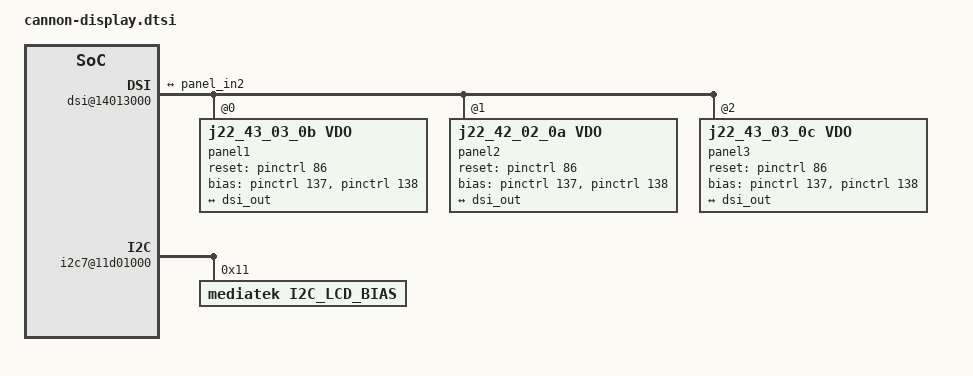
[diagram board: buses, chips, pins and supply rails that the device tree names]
// SPDX-License-Identifier: GPL-2.0-only
// cannon display panel bring-up. Node layout mirrors the LK-patched runtime
// FDT dumped from the running 4.14 device (live-fdt.bin, cmdline
// LCM_name=dsi_vdo_j22_42_02_0a_lcm_drv): three j22 panel children under the
// DSI node, reset on pio pin 86, dual-rail bias on pins 137/138. LK's
// disp_lcm_fill_lcm_dts_phandle rewrites the dsi ports endpoint to the real
// panel at boot, so keep all three nodes in the stock reg order. The LM36273
// bias/backlight I2C client on i2c7 is likewise injected by the stock DTB,
// not present in cannon-stock.dtsi.
&{/dsi@14013000} {
	panel1@0 {
		compatible = "j22_43_03_0b,vdo";
		reg = <0>;
		reset-gpios = <&{/pinctrl} 86 0>;
		bias-gpios = <&{/pinctrl} 137 0>, <&{/pinctrl} 138 0>;

		port {
			panel_in1: endpoint {
				remote-endpoint = <&dsi_out>;
			};
		};
	};

	panel2@0 {
		compatible = "j22_42_02_0a,vdo";
		reg = <1>;
		reset-gpios = <&{/pinctrl} 86 0>;
		bias-gpios = <&{/pinctrl} 137 0>, <&{/pinctrl} 138 0>;

		port {
			panel_in2: endpoint {
				remote-endpoint = <&dsi_out>;
			};
		};
	};

	panel3@0 {
		compatible = "j22_43_03_0c,vdo";
		reg = <2>;
		reset-gpios = <&{/pinctrl} 86 0>;
		bias-gpios = <&{/pinctrl} 137 0>, <&{/pinctrl} 138 0>;

		port {
			panel_in3: endpoint {
				remote-endpoint = <&dsi_out>;
			};
		};
	};

	ports {
		port {
			dsi_out: endpoint {
				remote-endpoint = <&panel_in2>;
			};
		};
	};
};

&{/i2c7@11d01000} {
	// The 6.12 mt65xx i2c driver has no entry for the legacy
	// "mediatek,i2c" compatible; mt6853 uses the mt6873-generation IP.
	compatible = "mediatek,mt6853-i2c";
	#address-cells = <1>;
	#size-cells = <0>;

	i2c_lcd_bias@11 {
		compatible = "mediatek,i2c_lcd_bias";
		reg = <0x11>;
		status = "okay";
	};
};

// dispsys_config's stock clock list starts with <0x49 0xc>, the legacy
// SCPSYS MM clock. cannon-mm-providers.dtsi rewrote the power-controller
// for the 6.12 power-domain binding and dropped its #clock-cells, so
// of_count_phandle_with_args fails and the DRM top-clock list ends up
// empty — with top_clk_ref at 0 every DSI/RDMA IRQ is dropped and the
// first-enable wait never completes (test58). Keep the three real
// mmsys_config clocks (clk-mt6853-mm registers this provider; the IDs are
// CLK_MM_DISP_26M/CLK_MM_APB_BUS/CLK_MM_DISP_MUTEX0, matching the
// reference mt6853.dtsi).
&{/dispsys_config@14000000} {
	clocks = <0x82 0x19 0x82 0x1 0x82 0x0>;
	clock-num = <3>;
};
